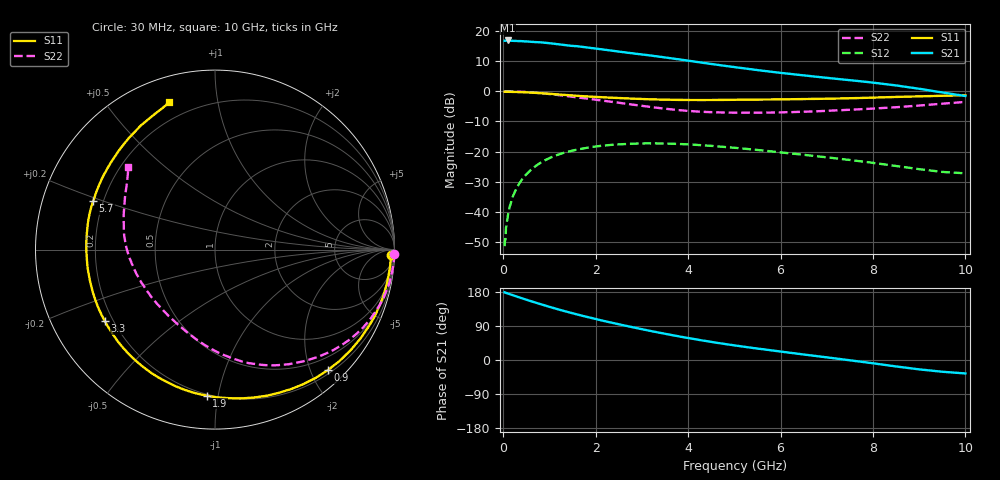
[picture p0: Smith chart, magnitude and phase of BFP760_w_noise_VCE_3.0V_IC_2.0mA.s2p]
! Infineon Technologies  Discrete & RF Semiconductors
! BFP760
! VCE =  3.0 V,  IC =  2.0 mA
! Common Emitter S-Parameters:  Nov 2012
# GHz  S  MA  R  50
!  f  S11  S21  S12  S22
! GHz  MAG  ANG  MAG  ANG  MAG  ANG  MAG  ANG
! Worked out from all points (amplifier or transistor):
!   99 points, 30 MHz to 10 GHz, reference 50 ohm
!   highest |S21| = 16.9 dB at 100 MHz (marker M1)
!   |S21| within 3 dB of that: start of sweep to 2.158 GHz
!   unconditionally stable (mu >= 1): 7.157 GHz to end of sweep
!   at 350 MHz: K = 0.05, MSG = 23.6 dB, |S12| = -30.5 dB
!   at 3.5 GHz: K = 0.32, MSG = 14.3 dB, |S12| = -17.3 dB
!   at 10 GHz: K = 1.69, MAG = 8.0 dB, |S12| = -27.2 dB
!   lowest NFmin = 0.46 dB at 900 MHz
!   S11 on the Smith chart (normalised r, x): 30 MHz: 30, -48; 900 MHz: 0.26, -2.28; 1.9 GHz: 0.19, -0.93; 3.3 GHz: 0.17, -0.29; 5.7 GHz: 0.16, +0.19; 10 GHz: 0.12, +0.73
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0.03  0.9815 -1.7  6.875 178.6  0.0027 85.5  1 -1.3
0.05  0.9812 -2.6  6.941 177.4  0.0035 83.9  0.9988 -1.8
0.06  0.9815 -3.2  6.924 177.1  0.0055 82.6  0.9993 -2.2
0.1  0.9801 -5.3  6.963 175.5  0.0086 85.6  0.9985 -3.6
0.2  0.9763 -10.6  6.873 171.3  0.0174 82.7  0.9946 -7.1
0.35  0.9685 -18.5  6.798 165.1  0.0298 77.5  0.986 -12.3
0.6  0.9498 -31.5  6.618 155.2  0.0498 68.7  0.9597 -20.9
0.9  0.9199 -46.9  6.388 144.0  0.0716 58.4  0.9168 -30.9
1.1  0.8971 -56.6  6.141 136.8  0.084 51.8  0.8822 -37.3
1.3  0.8734 -66.1  5.888 129.9  0.0948 45.6  0.846 -43.3
1.7  0.8313 -84.7  5.46 117.1  0.1116 34.7  0.7749 -54.5
1.9  0.8153 -93.3  5.22 111.2  0.1185 29.5  0.7415 -60.0
2.5  0.773 -117.7  4.552 94.3  0.1317 15.2  0.6466 -75.7
2.9  0.7499 -132.8  4.165 83.9  0.1358 6.8  0.5871 -85.7
3.3  0.7322 -147.0  3.815 73.9  0.1367 -0.9  0.5363 -95.8
3.4  0.729 -150.4  3.729 71.5  0.1362 -2.9  0.5248 -98.3
4.1  0.7171 -171.3  3.141 55.9  0.1303 -14.8  0.4673 -115.8
5.1  0.7243 167.3  2.46 36.9  0.1139 -27.7  0.4422 -137.1
5.7  0.7306 158.4  2.152 27.1  0.1026 -33.3  0.4432 -148.2
6.7  0.747 145.8  1.765 11.6  0.0852 -39.3  0.464 -166.7
8.5  0.8054 120.9  1.25 -17.0  0.0577 -41.9  0.5438 159.4
10  0.8591 107.2  0.834 -35.5  0.0436 -26.8  0.666 136.4
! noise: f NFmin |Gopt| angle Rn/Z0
0.9  0.46  0.62  27  0.22
1.8  0.6  0.52  57  0.18
2.4  0.73  0.48  77  0.16
3.5  0.93  0.42  109  0.14
5.5  1.34  0.44  -164  0.08
8  2.21  0.57  -108  0.43
